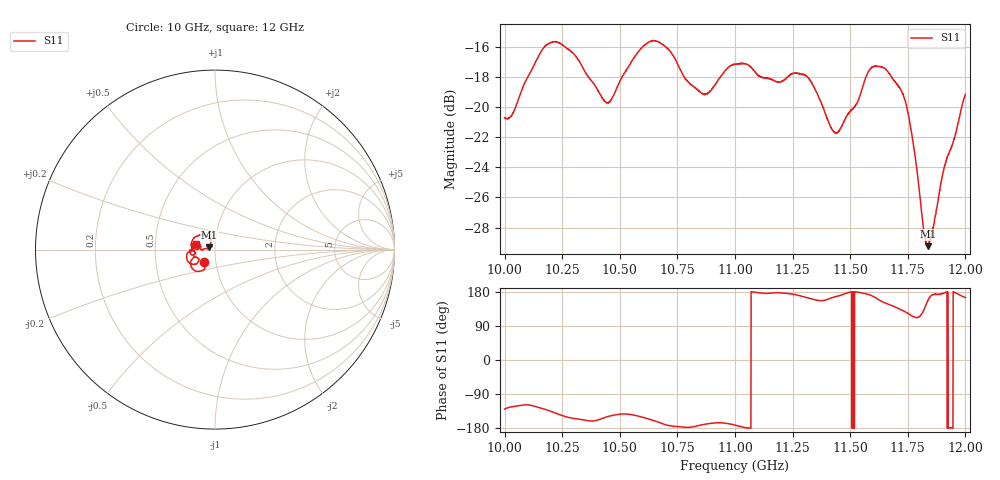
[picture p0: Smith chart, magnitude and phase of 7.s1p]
[Version] 2.0
! Rohde & Schwarz Vector Network Analyzer
! Rohde-Schwarz,ZNL20-2Port,1323001220200009,1.71.1.10-23.02.1.238
! Port Assignments:
! Nominal Port -> Actual Test Port
!  1 -> 1
! Created: GMT 2024-08-27 13:51:12
# Hz S DB R 50
[Number of Ports] 1
! freq[Hz]  S11[mag dB]  S11[ang]
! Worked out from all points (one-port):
!   2001 points, 10 GHz to 12 GHz, reference 50 ohm
!   lowest |S11| = -29.2 dB at 11.84 GHz (marker M1), VSWR 1.07, Z = 46.9 + j1.27 ohm
!   |S11| at or under -10 dB: start of sweep to end of sweep
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[Number of Frequencies] 28
[Network Data]
1e10  -20.73 -129.6
1.0035e10  -20.46 -122.9
1.0169e10  -16.09 -129.0
1.025e10  -15.87 -146.6
1.0368e10  -18.10 -160.8
1.044e10  -19.70 -150.6
1.05e10  -18.30 -143.0
1.0637e10  -15.63 -157.8
1.07e10  -16.02 -171.1
1.075e10  -17.12 -175.5
1.0792e10  -18.25 -177.8
1.0868e10  -19.17 -169.7
1.1e10  -17.18 -171.9
1.1185e10  -18.33 177.5
1.125e10  -17.77 173.7
1.1324e10  -18.21 162.6
1.1432e10  -21.69 166.2
1.15e10  -20.27 179.3
1.1579e10  -17.67 173.0
1.1612e10  -17.31 163.5
1.1713e10  -18.70 134.8
1.175e10  -20.37 122.9
1.1783e10  -23.42 112.5
1.1821e10  -28.40 134.4
1.1837e10  -29.23 156.9
1.1857e10  -28.21 172.2
1.1911e10  -23.88 177.3
1.2e10  -19.17 164.5
[End]
